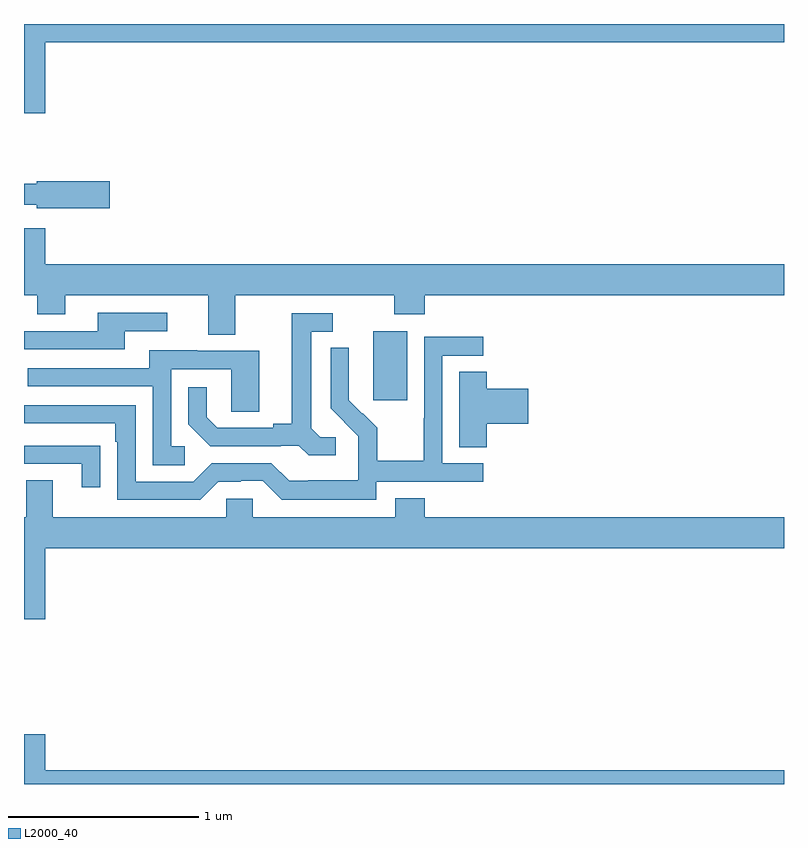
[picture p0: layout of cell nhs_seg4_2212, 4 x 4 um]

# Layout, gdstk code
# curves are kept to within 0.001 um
import gdstk
lib = gdstk.Library(unit=1e-6, precision=1e-09)
def R(c, l, rs):  # rectangles x0, y0, x1, y1
    for r in rs: c.add(gdstk.rectangle(r[:2], r[2:], *l))
def P(c, l, *ps):  # polygons
    for p in ps: c.add(gdstk.Polygon(p, *l))
L2000_40 = (2000, 40)

nhs_seg4_2212 = lib.new_cell('nhs_seg4_2212')
R(nhs_seg4_2212, L2000_40, [(226.838,810.921,227.017,811.282)])
P(nhs_seg4_2212, L2000_40, [(225.112,812.804),(229,812.804),(229,812.9),(225,812.9),(225,812.43),(225.112,812.43)],
  [(225.451,812.072),(225.066,812.072),(225.066,812.059),(225,812.059),(225,811.95),(225.066,811.95),(225.066,811.93),(225.451,811.93)],
  [(226.111,811.472),(226.948,811.472),(226.948,811.373),(227.108,811.373),(227.108,811.472),(229,811.472),(229,811.636),(225.112,811.636),(225.112,811.825),(225,811.825),(225,811.472),(225.07,811.472),(225.07,811.373),(225.217,811.373),(225.217,811.472),(225.971,811.472),(225.971,811.264),(226.111,811.264)],
  [(225.529,811.284),(225.754,811.284),(225.754,811.38),(225.389,811.38),(225.389,811.284),(225,811.284),(225,811.188),(225.529,811.188)],
  [(226.642,810.726),(226.56,810.726),(226.513,810.773),(226.513,811.281),(226.624,811.281),(226.624,811.377),(226.409,811.377),(226.409,810.797),(226.313,810.797),(226.313,810.774),(226.018,810.774),(225.961,810.831),(225.961,810.988),(225.864,810.988),(225.864,810.794),(225.98,810.678),(226.352,810.678),(226.352,810.681),(226.446,810.681),(226.498,810.629),(226.642,810.629)],
  [(226.854,810.492),(227.416,810.492),(227.416,810.588),(227.202,810.588),(227.202,811.155),(227.416,811.155),(227.416,811.254),(227.106,811.254),(227.106,810.824),(227.104,810.824),(227.104,810.601),(226.859,810.601),(226.859,810.775),(226.782,810.852),(226.779,810.849),(226.709,810.92),(226.71,811.196),(226.614,811.196),(226.614,810.878),(226.76,810.73),(226.76,810.633),(226.758,810.633),(226.758,810.499),(226.495,810.499),(226.495,810.495),(226.395,810.495),(226.302,810.588),(225.987,810.588),(225.891,810.492),(225.588,810.492),(225.588,810.894),(225,810.894),(225,810.798),(225.479,810.798),(225.479,810.701),(225.492,810.701),(225.492,810.396),(225.927,810.396),(226.023,810.492),(226.142,810.492),(226.142,810.495),(226.257,810.495),(226.357,810.395),(226.854,810.395)],
  [(225.847,810.678),(225.774,810.678),(225.774,811.083),(226.092,811.083),(226.092,810.859),(226.237,810.859),(226.237,811.179),(225.913,811.179),(225.913,811.183),(225.659,811.183),(225.659,811.089),(225.019,811.089),(225.019,810.993),(225.678,810.993),(225.678,810.577),(225.847,810.577)],
  [(227.435,810.797),(227.653,810.797),(227.653,810.98),(227.435,810.98),(227.435,811.07),(227.291,811.07),(227.291,810.673),(227.435,810.673)],
  [(225.401,810.68),(225.299,810.68),(225.299,810.681),(225,810.681),(225,810.585),(225.305,810.585),(225.305,810.462),(225.401,810.462)],
  [(225.112,810.14),(229,810.14),(229,810.304),(227.108,810.304),(227.108,810.403),(226.955,810.403),(226.955,810.304),(226.203,810.304),(226.203,810.402),(226.065,810.402),(226.065,810.304),(225.151,810.304),(225.151,810.499),(225.011,810.499),(225.011,810.304),(225,810.304),(225,809.766),(225.112,809.766)],
  [(229,808.972),(225.112,808.972),(225.112,809.161),(225,809.161),(225,808.9),(229,808.9)])

lib.write_gds('nhs_seg4_2212.gds')
